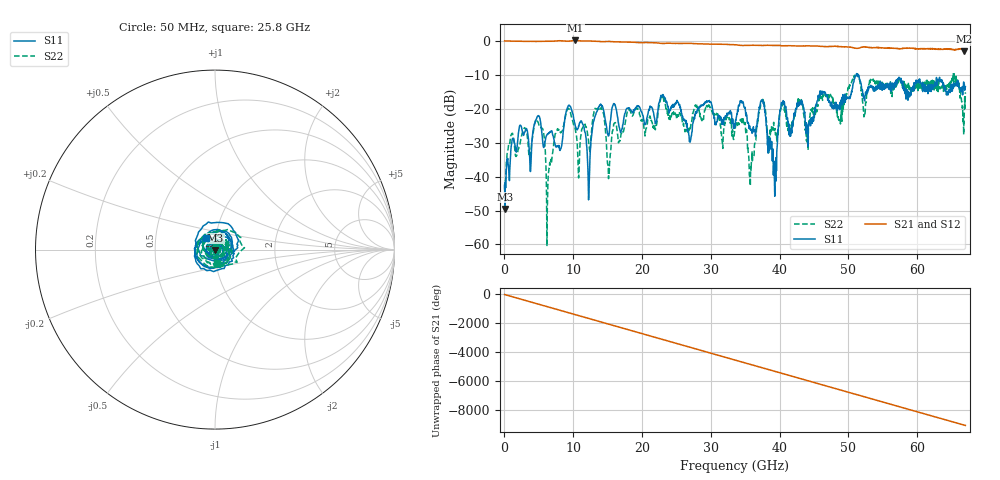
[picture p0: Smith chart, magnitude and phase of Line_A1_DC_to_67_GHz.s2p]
#  HZ  S  MA  R  50.00
! Rohde & Schwarz ZVA67 4Ports - Version 4.11 - 1305.7002k04 SN: 101051
! Date: 2023-05-31 11:50:06
! Measurements: S11 S21 S12 S22
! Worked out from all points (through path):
!   1340 points, 50 MHz to 67 GHz, reference 50 ohm
!   highest |S21| = 0.12 dB at 10.3 GHz (marker M1); lowest = -3.1 dB at 66.85 GHz (marker M2)
!   group delay of S21, straight-line fit = 375 ps
!   lowest |S11| = -49.5 dB at 100 MHz (marker M3), VSWR 1.01, Z = 50.3 - j0.211 ohm
!   |S11| at or under -10 dB: start of sweep to 51.13 GHz; 51.22715 GHz to 51.2751 GHz (47.95 MHz wide, 0.0936 % of centre); 51.41 GHz to end of sweep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
!   |S22| runs from -60.5 to -9.5 dB; largest |S21 - S12| = 0.13
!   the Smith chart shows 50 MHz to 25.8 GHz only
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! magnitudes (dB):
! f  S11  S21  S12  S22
! 50 MHz  -42.7  0.0  0.0  -42.3
! 100 MHz  -49.5  0.0  0.0  -48.9
! 2.35 GHz  -24.8  -0.1  -0.1  -29.7
! 4.85 GHz  -22.1  -0.2  -0.2  -23.7
! 6.35 GHz  -27.3  -0.1  -0.1  -41.4
! 7.6 GHz  -31.2  0.0  0.0  -26.5
! 10.3 GHz  -24.9  0.1  0.1  -25.8
! 11.25 GHz  -23.8  0.0  0.0  -26.1
! 12.25 GHz  -46.8  0.0  0.0  -29.7
! 13.9 GHz  -19.1  -0.2  -0.2  -20.1
! 15.2 GHz  -27.9  -0.2  -0.2  -37.5
! 16 GHz  -18.5  -0.3  -0.3  -24.2
! 22.4 GHz  -19.1  -0.7  -0.6  -20.3
! 33.55 GHz  -25.1  -1.2  -1.1  -26.1
! 35.9 GHz  -26.4  -1.3  -1.3  -36.0
! 37.5 GHz  -17.8  -1.4  -1.4  -17.5
! 39.25 GHz  -40.0  -1.3  -1.3  -26.3
! 40.4 GHz  -18.6  -1.5  -1.4  -19.2
! 44.7 GHz  -22.8  -1.5  -1.5  -20.1
! 55.85 GHz  -14.2  -2.1  -2.1  -13.7
! 66.85 GHz  -12.9  -3.1  -3.0  -20.7
! 67 GHz  -13.5  -2.9  -2.9  -15.2
